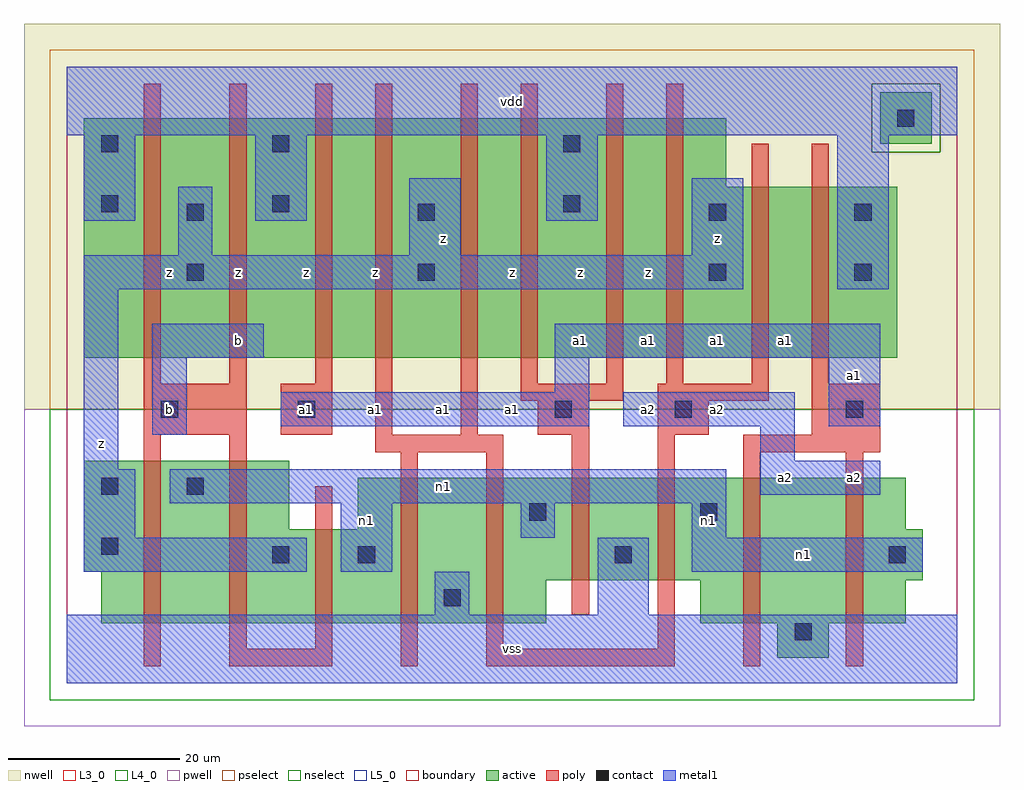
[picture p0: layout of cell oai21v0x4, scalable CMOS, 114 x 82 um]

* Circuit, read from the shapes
.subckt oai21v0x4 a1 a2 b n1 vdd vss z
M1 n1 b z VSUBS nfet w=19u l=2u m=2
M2 n1 b z VSUBS nfet w=11u l=2u
M3 vss a2 n1 VSUBS nfet w=17u l=2u m=2
M4 vss a1 n1 VSUBS nfet w=12u l=2u
M5 n1 a2 vss VSUBS nfet w=12u l=2u
M6 vss a1 n1 VSUBS nfet w=17u l=2u m=2
M7 z b vdd vdd pfet w=28u l=2u m=2
M8 n2 a1 vdd vdd pfet w=28u l=2u
M9 z a2 n2 vdd pfet w=28u l=2u
M10 n3 a2 z vdd pfet w=28u l=2u
M11 vdd a1 n3 vdd pfet w=28u l=2u
M12 n4 a1 vdd vdd pfet w=28u l=2u
M13 z a2 n4 vdd pfet w=28u l=2u
M14 n5 a2 z vdd pfet w=20u l=2u
M15 vdd a1 n5 vdd pfet w=20u l=2u
.ends

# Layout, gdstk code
import gdstk
lib = gdstk.Library(unit=1e-6, precision=1e-09)
def R(c, l, rs):  # rectangles x0, y0, x1, y1
    for r in rs: c.add(gdstk.rectangle(r[:2], r[2:], *l))
def A(c, l, x, y, w, h, nx, ny, dx, dy):  # array of equal rectangles
    R(c, l, [(x+i*dx, y+j*dy, x+i*dx+w, y+j*dy+h) for i in range(nx) for j in range(ny)])
L3_0 = (3, 0)
L4_0 = (4, 0)
L5_0 = (5, 0)
contact = (25, 0)
pwell = (41, 0)
nwell = (42, 0)
active = (43, 0)
pselect = (44, 0)
nselect = (45, 0)
poly = (46, 0)
metal1 = (49, 0)
boundary = (63, 0)

oai21v0x4 = lib.new_cell('oai21v0x4')
R(oai21v0x4, L3_0, [(83,3,89,7), (4,7,56,12), (74,7,98,12), (4,12,100,13), (2,13,100,18), (2,18,26,26), (34,18,98,24)])
R(oai21v0x4, L4_0, [(2,38,97,58), (2,58,77,66)])
R(oai21v0x4, L5_0, [(95,63,101,69)])
R(oai21v0x4, contact, [(85,5,87,7), (44,9,46,11), (24,14,26,16), (34,14,36,16), (64,14,66,16), (96,14,98,16), (4,15,6,17), (54,19,56,21), (74,19,76,21), (4,22,6,24), (14,22,16,24), (11,31,13,33), (27,31,29,33), (57,31,59,33), (71,31,73,33), (91,31,93,33), (14,47,16,49), (41,47,43,49), (75,47,77,49), (92,47,94,49), (14,54,16,56), (41,54,43,56), (75,54,77,56), (92,54,94,56), (4,55,6,57), (24,55,26,57), (58,55,60,57), (4,62,6,64), (24,62,26,64), (58,62,60,64), (97,65,99,67)])
R(oai21v0x4, pwell, [(-5,-5,109,32)])
R(oai21v0x4, nwell, [(-5,32,109,77)])
R(oai21v0x4, active, [(83,3,89,7), (4,7,56,12), (74,7,98,12), (4,12,100,13), (2,13,100,18), (2,18,26,26), (34,18,98,24), (2,38,97,58), (2,58,77,66), (95,63,101,69)])
R(oai21v0x4, pselect, [(-2,32,106,62), (-2,62,94,70), (102,62,106,70), (-2,70,106,74)])
R(oai21v0x4, nselect, [(-2,-2,106,32), (94,62,102,70)])
A(oai21v0x4, poly, 9, 35, 2, 35, 3, 1, 10, 0)
R(oai21v0x4, poly, [(9,2,11,29), (19,2,31,4), (39,2,41,27), (49,2,71,4), (79,2,81,27), (91,2,93,27), (19,4,21,29), (29,4,31,23), (49,4,51,27), (69,4,71,29), (59,8,61,29), (36,27,51,29), (79,27,95,29), (9,29,21,35), (25,29,31,35), (36,29,38,70), (46,29,48,70), (55,29,61,33), (69,29,75,33), (87,29,95,35), (53,33,65,35), (69,33,82,35), (53,35,55,70), (63,35,65,70), (70,35,72,70), (80,35,82,63), (87,35,89,63)])
R(oai21v0x4, metal1, [(0,0,104,8), (43,8,47,13), (62,8,68,17), (2,13,28,17), (32,13,38,21), (73,13,100,17), (2,17,8,25), (53,17,57,21), (73,17,77,21), (12,21,77,25), (81,22,95,26), (2,25,6,46), (81,26,85,30), (10,29,14,38), (25,30,61,34), (65,30,85,34), (89,30,95,38), (57,34,61,38), (10,38,23,42), (57,38,95,42), (2,46,79,50), (90,46,96,64), (13,50,17,58), (40,50,46,59), (73,50,79,59), (2,54,8,64), (22,54,28,64), (56,54,62,64), (0,64,104,72)])
R(oai21v0x4, boundary, [(0,0,104,72)])
oai21v0x4.add(gdstk.Label('n1', (35,19), layer=49, texttype=0))
oai21v0x4.add(gdstk.Label('n1', (86,15), layer=49, texttype=0))
oai21v0x4.add(gdstk.Label('n1', (75,19), layer=49, texttype=0))
oai21v0x4.add(gdstk.Label('n1', (44,23), layer=49, texttype=0))
oai21v0x4.add(gdstk.Label('b', (12,32), layer=49, texttype=0))
oai21v0x4.add(gdstk.Label('z', (4,28), layer=49, texttype=0))
oai21v0x4.add(gdstk.Label('z', (12,48), layer=49, texttype=0))
oai21v0x4.add(gdstk.Label('a1', (36,32), layer=49, texttype=0))
oai21v0x4.add(gdstk.Label('a1', (28,32), layer=49, texttype=0))
oai21v0x4.add(gdstk.Label('b', (20,40), layer=49, texttype=0))
oai21v0x4.add(gdstk.Label('z', (20,48), layer=49, texttype=0))
oai21v0x4.add(gdstk.Label('z', (36,48), layer=49, texttype=0))
oai21v0x4.add(gdstk.Label('z', (28,48), layer=49, texttype=0))
oai21v0x4.add(gdstk.Label('vss', (52,4), layer=49, texttype=0))
oai21v0x4.add(gdstk.Label('a1', (52,32), layer=49, texttype=0))
oai21v0x4.add(gdstk.Label('a1', (44,32), layer=49, texttype=0))
oai21v0x4.add(gdstk.Label('a1', (60,40), layer=49, texttype=0))
oai21v0x4.add(gdstk.Label('z', (44,52), layer=49, texttype=0))
oai21v0x4.add(gdstk.Label('z', (60,48), layer=49, texttype=0))
oai21v0x4.add(gdstk.Label('z', (52,48), layer=49, texttype=0))
oai21v0x4.add(gdstk.Label('vdd', (52,68), layer=49, texttype=0))
oai21v0x4.add(gdstk.Label('a2', (76,32), layer=49, texttype=0))
oai21v0x4.add(gdstk.Label('a2', (68,32), layer=49, texttype=0))
oai21v0x4.add(gdstk.Label('a1', (76,40), layer=49, texttype=0))
oai21v0x4.add(gdstk.Label('a1', (68,40), layer=49, texttype=0))
oai21v0x4.add(gdstk.Label('z', (76,52), layer=49, texttype=0))
oai21v0x4.add(gdstk.Label('z', (68,48), layer=49, texttype=0))
oai21v0x4.add(gdstk.Label('a2', (84,24), layer=49, texttype=0))
oai21v0x4.add(gdstk.Label('a2', (92,24), layer=49, texttype=0))
oai21v0x4.add(gdstk.Label('a1', (84,40), layer=49, texttype=0))
oai21v0x4.add(gdstk.Label('a1', (92,36), layer=49, texttype=0))

lib.write_gds('oai21v0x4.gds')
